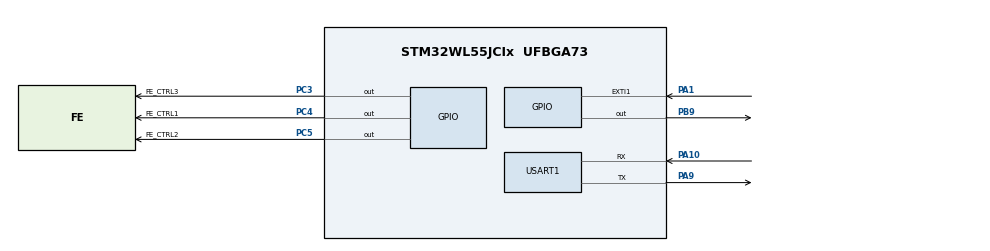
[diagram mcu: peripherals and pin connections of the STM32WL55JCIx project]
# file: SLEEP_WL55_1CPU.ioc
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Mcu.Family=STM32WL
Mcu.Name=STM32WL55JCIx
Mcu.Package=UFBGA73
NUCLEO-WL55JC1.BUTTON=1
NUCLEO-WL55JC1.LD3=true
NUCLEO-WL55JC1.VCP=true
NVIC.EXTI0_IRQn=true\:0\:0\:false\:false\:true\:true\:true\:true
NVIC.EXTI1_IRQn=true\:0\:0\:false\:false\:true\:true\:true\:true
NVIC.PriorityGroup=NVIC_PRIORITYGROUP_4
NVIC.USART1_IRQn=true\:0\:0\:false\:false\:true\:true\:true\:true
PA1.Signal=GPXTI1
PA10.Mode=Asynchronous
PA10.Signal=USART1_RX
PA13.Mode=Serial_Wire
PA13.Signal=DEBUG_JTMS-SWDIO
PA14.Mode=Serial_Wire
PA14.Signal=DEBUG_JTCK-SWCLK
PA2.Signal=USART2_TX
PA3.Signal=USART2_RX
PA9.Mode=Asynchronous
PA9.Signal=USART1_TX
PB9.Signal=GPIO_Output
PC14-OSC32_IN.GPIO_Label=RCC_OSC32_IN
PC14-OSC32_IN.Mode=LSE-External-Oscillator
PC14-OSC32_IN.Signal=RCC_OSC32_IN
PC15-OSC32_OUT.GPIO_Label=RCC_OSC32_OUT
PC15-OSC32_OUT.Mode=LSE-External-Oscillator
PC15-OSC32_OUT.Signal=RCC_OSC32_OUT
PC3.GPIO_Label=FE_CTRL3
PC3.GPIO_Speed=GPIO_SPEED_FREQ_VERY_HIGH
PC3.Signal=GPIO_Output
PC4.GPIO_Label=FE_CTRL1
PC4.GPIO_Speed=GPIO_SPEED_FREQ_VERY_HIGH
PC4.Signal=GPIO_Output
PC5.GPIO_Label=FE_CTRL2
PC5.GPIO_Speed=GPIO_SPEED_FREQ_VERY_HIGH
PC5.Signal=GPIO_Output
ProjectManager.HeapSize=0x200
ProjectManager.StackSize=0x400
ProjectManager.TargetToolchain=STM32CubeIDE
RCC.HSE_VALUE=32000000
RCC.HSI_VALUE=16000000
RCC.LSE_VALUE=32768
RCC.VCOOutputFreq_Value=32000000
USART1.VirtualMode-Asynchronous=VM_ASYNC
VP_NUCLEO-WL55JC1_VS_BSP_COMMON.Mode=COMMON
board=NUCLEO-WL55JC1

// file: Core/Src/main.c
/* USER CODE BEGIN Header */
/**
  ******************************************************************************
  * @file           : main.c
  * @brief          : Main program body
  ******************************************************************************
  * @attention
  *
  * Copyright (c) 2025 STMicroelectronics.
  * All rights reserved.
  *
  * This software is licensed under terms that can be found in the LICENSE file
  * in the root directory of this software component.
  * If no LICENSE file comes with this software, it is provided AS-IS.
  *
  ******************************************************************************
  */
/* USER CODE END Header */
#include "main.h"

/* USER CODE BEGIN Includes */
#include <string.h>
/* USER CODE END Includes */

COM_InitTypeDef BspCOMInit;
UART_HandleTypeDef huart1;

void SystemClock_Config(void);
static void MX_GPIO_Init(void);
static void MX_USART1_UART_Init(void);

/* USER CODE BEGIN 0 */
char *str = {0};

uint8_t Rx_data;

void HAL_UART_RxCpltCallback(UART_HandleTypeDef *huart){
	HAL_UART_Receive_IT(huart, &Rx_data, 1);
	str = "Wake up from SLEEP by UART.\r\n";
	HAL_UART_Transmit(huart, (uint8_t *)str, strlen(str), HAL_MAX_DELAY);
}

void HAL_GPIO_EXTI_Callback(uint16_t GPIO_Pin){
	str = "Wake up from SLEEP by EXTI (from GPIO).\r\n";
	HAL_UART_Transmit(&huart1, (uint8_t *)str, strlen(str), HAL_MAX_DELAY);
	HAL_PWR_DisableSleepOnExit();
}

/* USER CODE END 0 */

int main(void)
{

  /* MCU Configuration--------------------------------------------------------*/

  /* Reset of all peripherals, Initializes the Flash interface and the Systick. */
  HAL_Init();

  /* Configure the system clock */
  SystemClock_Config();

  /* Initialize all configured peripherals */
  MX_GPIO_Init();
  MX_USART1_UART_Init();

  /* Initialize leds */
  BSP_LED_Init(LED_RED);

  /* Initialize USER push-button, will be used to trigger an interrupt each time it's pressed.*/
  BSP_PB_Init(BUTTON_SW1, BUTTON_MODE_EXTI);

  /* Initialize COM1 port (115200, 8 bits (7-bit data + 1 stop bit), no parity */
  BspCOMInit.BaudRate   = 115200;
  BspCOMInit.WordLength = COM_WORDLENGTH_8B;
  BspCOMInit.StopBits   = COM_STOPBITS_1;
  BspCOMInit.Parity     = COM_PARITY_NONE;
  BspCOMInit.HwFlowCtl  = COM_HWCONTROL_NONE;
  if (BSP_COM_Init(COM1, &BspCOMInit) != BSP_ERROR_NONE)
  {
    Error_Handler();
  }

  /* Infinite loop */
  /* USER CODE BEGIN WHILE */
  HAL_UART_Receive_IT(&huart1, &Rx_data, 1);
  while (1)
  {

    /* USER CODE END WHILE */

    /* USER CODE BEGIN 3 */
	  str = "Going into SLEEP mode in 6 seconds.\r\n";
	  HAL_UART_Transmit(&huart1, (uint8_t *)str, strlen(str), HAL_MAX_DELAY);

	  HAL_GPIO_WritePin(GPIOB, GPIO_PIN_9, 1);
	  HAL_Delay(6000);

	  /* Suspend Tick increment to prevent wakeup by Systick interrupt.
	   * Otherwise the Systick will wake up the device within 1 ms (HAL time base).
	   */
	  HAL_SuspendTick();

	  HAL_GPIO_WritePin(GPIOB, GPIO_PIN_9, 0); // indicate undergoing SLEEP mode

	  HAL_PWR_EnableSleepOnExit();

	  // Enter the SLEEP mode
	  HAL_PWR_EnterSLEEPMode(PWR_MAINREGULATOR_ON, PWR_SLEEPENTRY_WFI); // interrupt for wake up

	  /* #### Device is sleeping #### */

	  HAL_ResumeTick();

	  str = "Woke up from SLEEP mode.\r\n";
	  HAL_UART_Transmit(&huart1, (uint8_t *)str, strlen(str), HAL_MAX_DELAY);

	  //Blinking LED on PB_9 (green LED)
	  for (int i = 0; i < 16 ; i++){
		  HAL_GPIO_TogglePin(GPIOB, GPIO_PIN_9);
		  HAL_Delay(250);
	  }

  }
  /* USER CODE END 3 */
}

void SystemClock_Config(void)
{
  RCC_OscInitTypeDef RCC_OscInitStruct = {0};
  RCC_ClkInitTypeDef RCC_ClkInitStruct = {0};

  /** Configure LSE Drive Capability
  */
  HAL_PWR_EnableBkUpAccess();
  __HAL_RCC_LSEDRIVE_CONFIG(RCC_LSEDRIVE_LOW);

  /** Configure the main internal regulator output voltage
  */
  __HAL_PWR_VOLTAGESCALING_CONFIG(PWR_REGULATOR_VOLTAGE_SCALE2);

  /** Initializes the CPU, AHB and APB buses clocks
  */
  RCC_OscInitStruct.OscillatorType = RCC_OSCILLATORTYPE_LSE|RCC_OSCILLATORTYPE_MSI;
  RCC_OscInitStruct.LSEState = RCC_LSE_ON;
  RCC_OscInitStruct.MSIState = RCC_MSI_ON;
  RCC_OscInitStruct.MSICalibrationValue = RCC_MSICALIBRATION_DEFAULT;
  RCC_OscInitStruct.MSIClockRange = RCC_MSIRANGE_6;
  RCC_OscInitStruct.PLL.PLLState = RCC_PLL_NONE;
  if (HAL_RCC_OscConfig(&RCC_OscInitStruct) != HAL_OK)
  {
    Error_Handler();
  }

  /** Configure the SYSCLKSource, HCLK, PCLK1 and PCLK2 clocks dividers
  */
  RCC_ClkInitStruct.ClockType = RCC_CLOCKTYPE_HCLK3|RCC_CLOCKTYPE_HCLK
                              |RCC_CLOCKTYPE_SYSCLK|RCC_CLOCKTYPE_PCLK1
                              |RCC_CLOCKTYPE_PCLK2;
  RCC_ClkInitStruct.SYSCLKSource = RCC_SYSCLKSOURCE_MSI;
  RCC_ClkInitStruct.AHBCLKDivider = RCC_SYSCLK_DIV1;
  RCC_ClkInitStruct.APB1CLKDivider = RCC_HCLK_DIV1;
  RCC_ClkInitStruct.APB2CLKDivider = RCC_HCLK_DIV1;
  RCC_ClkInitStruct.AHBCLK3Divider = RCC_SYSCLK_DIV1;

  if (HAL_RCC_ClockConfig(&RCC_ClkInitStruct, FLASH_LATENCY_0) != HAL_OK)
  {
    Error_Handler();
  }
}

static void MX_USART1_UART_Init(void)
{

  huart1.Instance = USART1;
  huart1.Init.BaudRate = 115200;
  huart1.Init.WordLength = UART_WORDLENGTH_8B;
  huart1.Init.StopBits = UART_STOPBITS_1;
  huart1.Init.Parity = UART_PARITY_NONE;
  huart1.Init.Mode = UART_MODE_TX_RX;
  huart1.Init.HwFlowCtl = UART_HWCONTROL_NONE;
  huart1.Init.OverSampling = UART_OVERSAMPLING_16;
  huart1.Init.OneBitSampling = UART_ONE_BIT_SAMPLE_DISABLE;
  huart1.Init.ClockPrescaler = UART_PRESCALER_DIV1;
  huart1.AdvancedInit.AdvFeatureInit = UART_ADVFEATURE_NO_INIT;
  if (HAL_UART_Init(&huart1) != HAL_OK)
  {
    Error_Handler();
  }
  if (HAL_UARTEx_SetTxFifoThreshold(&huart1, UART_TXFIFO_THRESHOLD_1_8) != HAL_OK)
  {
    Error_Handler();
  }
  if (HAL_UARTEx_SetRxFifoThreshold(&huart1, UART_RXFIFO_THRESHOLD_1_8) != HAL_OK)
  {
    Error_Handler();
  }
  if (HAL_UARTEx_DisableFifoMode(&huart1) != HAL_OK)
  {
    Error_Handler();
  }

}

static void MX_GPIO_Init(void)
{
  GPIO_InitTypeDef GPIO_InitStruct = {0};

  /* GPIO Ports Clock Enable */
  __HAL_RCC_GPIOA_CLK_ENABLE();
  __HAL_RCC_GPIOC_CLK_ENABLE();
  __HAL_RCC_GPIOB_CLK_ENABLE();

  /*Configure GPIO pin Output Level */
  HAL_GPIO_WritePin(GPIOB, GPIO_PIN_9, GPIO_PIN_RESET);

  /*Configure GPIO pin Output Level */
  HAL_GPIO_WritePin(GPIOC, FE_CTRL3_Pin|FE_CTRL2_Pin|FE_CTRL1_Pin, GPIO_PIN_RESET);

  /*Configure GPIO pin : PB9 */
  GPIO_InitStruct.Pin = GPIO_PIN_9;
  GPIO_InitStruct.Mode = GPIO_MODE_OUTPUT_PP;
  GPIO_InitStruct.Pull = GPIO_NOPULL;
  GPIO_InitStruct.Speed = GPIO_SPEED_FREQ_LOW;
  HAL_GPIO_Init(GPIOB, &GPIO_InitStruct);

  /*Configure GPIO pins : FE_CTRL3_Pin FE_CTRL2_Pin FE_CTRL1_Pin */
  GPIO_InitStruct.Pin = FE_CTRL3_Pin|FE_CTRL2_Pin|FE_CTRL1_Pin;
  GPIO_InitStruct.Mode = GPIO_MODE_OUTPUT_PP;
  GPIO_InitStruct.Pull = GPIO_NOPULL;
  GPIO_InitStruct.Speed = GPIO_SPEED_FREQ_VERY_HIGH;
  HAL_GPIO_Init(GPIOC, &GPIO_InitStruct);

  /*Configure GPIO pin : PA1 */
  GPIO_InitStruct.Pin = GPIO_PIN_1;
  GPIO_InitStruct.Mode = GPIO_MODE_IT_RISING;
  GPIO_InitStruct.Pull = GPIO_NOPULL;
  HAL_GPIO_Init(GPIOA, &GPIO_InitStruct);

  /* EXTI interrupt init*/
  HAL_NVIC_SetPriority(EXTI1_IRQn, 0, 0);
  HAL_NVIC_EnableIRQ(EXTI1_IRQn);

}

void Error_Handler(void)
{
  __disable_irq();
  while (1)
  {
  }
}
